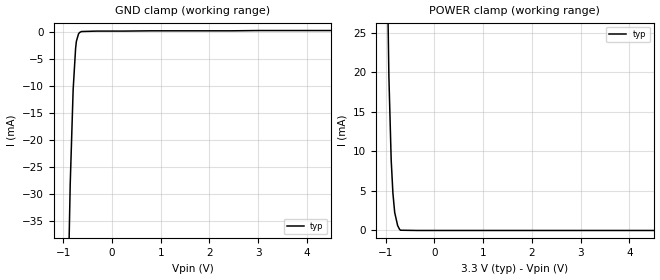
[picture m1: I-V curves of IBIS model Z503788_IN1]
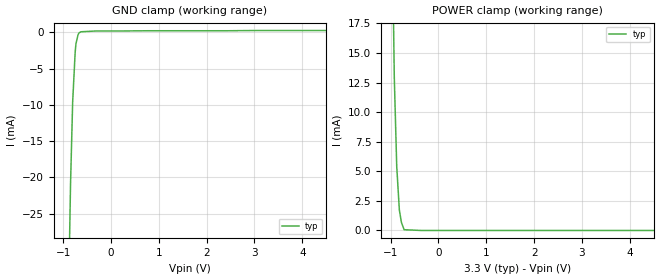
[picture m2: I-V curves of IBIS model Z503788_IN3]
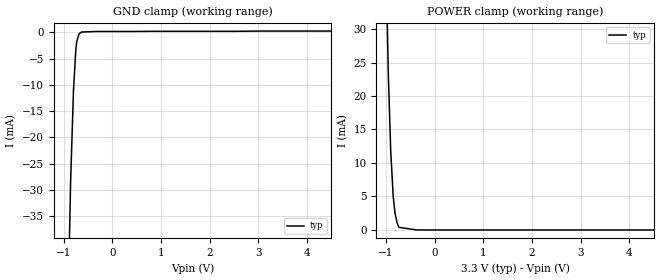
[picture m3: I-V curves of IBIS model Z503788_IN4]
| YOU ARE ONLY AUTHORIZED TO USE THIS SOFTWARE
| ACCORDING TO LICENSOR'S LICENSE RESTRICTIONS.
[IBIS Ver] 3.1
[File Name] mc74ac374n_33.ibs
[File Rev] 2.0
[Source] Measured and created by ICX Technology
[Date] Friday 7/14/00 9:08:00 AM
[Copyright]
| (C) COPYRIGHT 1993-2000
| MENTOR GRAPHICS CORPORATION
| ICX STANDARD LIBRARY, ICX PROJECT MODELING,
| ICX CUSTOM MODELING, ICX VENDOR MODEL
| ALL RIGHTS RESERVED.
| THE FOLLOWING ARE TRADEMARKS OR SERVICE MARKS OF
| MENTOR GRAPHICS CORPORATION:ICX (R), ICX STANDARD
| LIBRARY(R), ICX PROJECT MODELING(R), ICX CUSTOM
| MODELING(R), qualityIBIS(TM), MODELVIEWER(TM),
| AND MODELEDITOR(TM)
| ALL COPIES OF SOFTWARE, INCLUDING BUT NOT LIMITED TO
| ANY MODIFICATIONS, ENHANCEMENTS OR DERIVATIVE WORKS,
| MUST CONTAIN ALL MENTOR GRAPHICS CORPORATION'S
| NOTICES AND LEGENDS, INCLUDING THOSE EMBEDDED IN
| SOFTWARE AND THOSE AFFIXED TO SOFTWARE MEDIUM
| AND CONTAINER, AS RECEIVED FROM MENTOR GRAPHICS
| CORPORATION.
|  ZAP Model Builder 2.7
[Component] MC74AC374N_33
[Manufacturer] OnSemiconductor
[Package]
| variable   typ   min   max
R_pkg  .216ohms NA NA
L_pkg  5.76nH NA NA
C_pkg  1.29pF NA NA
[Pin] signal_name  model_name  R_pin  L_pin C_pin
1 _G Z503788_IN1 .232 9.76n 1.87p
2 Q0 Z503788_TRI2 .224 7.26n 1.58p
3 D0 Z503788_IN3 .216 5.26n 1.29p
4 D1 Z503788_IN3 .208 3.76n 1.0p
5 Q1 Z503788_TRI2 .2 2.76n .71p
6 Q2 Z503788_TRI2 .2 2.76n .71p
7 D2 Z503788_IN3 .208 3.76n 1.0p
8 D3 Z503788_IN3 .216 5.26n 1.29p
9 Q3 Z503788_TRI2 .224 7.26n 1.58p
10 GND GND .232 9.76n 1.87p
11 CLK Z503788_IN4 .232 9.76n 1.87p
12 Q4 Z503788_TRI2 .224 7.26n 1.58p
13 D4 Z503788_IN3 .216 5.26n 1.29p
14 D5 Z503788_IN3 .208 3.76n 1.0p
15 Q5 Z503788_TRI2 .2 2.76n .71p
16 Q6 Z503788_TRI2 .2 2.76n .71p
17 D6 Z503788_IN3 .208 3.76n 1.0p
18 D7 Z503788_IN3 .216 5.26n 1.29p
19 Q7 Z503788_TRI2 .224 7.26n 1.58p
20 VCC POWER .232 9.76n 1.87p
| Models and submodels in the file (4): Z503788_IN1 (Input), Z503788_IN3 (Input), Z503788_IN4 (Input), Z503788_TRI2 (3-state)
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| (C) COPYRIGHT 1993-2000
| MENTOR GRAPHICS CORPORATION
| ICX STANDARD LIBRARY, ICX PROJECT MODELING,
| ICX CUSTOM MODELING, ICX VENDOR MODEL
| ALL RIGHTS RESERVED.
| THE FOLLOWING ARE TRADEMARKS OR SERVICE MARKS OF
| MENTOR GRAPHICS CORPORATION:ICX (R), ICX STANDARD
| LIBRARY(R), ICX PROJECT MODELING(R), ICX CUSTOM
| MODELING(R), qualityIBIS(TM), MODELVIEWER(TM),
| AND MODELEDITOR(TM)
| ALL COPIES OF SOFTWARE, INCLUDING BUT NOT LIMITED TO
| ANY MODIFICATIONS, ENHANCEMENTS OR DERIVATIVE WORKS,
| MUST CONTAIN ALL MENTOR GRAPHICS CORPORATION'S
| NOTICES AND LEGENDS, INCLUDING THOSE EMBEDDED IN
| SOFTWARE AND THOSE AFFIXED TO SOFTWARE MEDIUM
| AND CONTAINER, AS RECEIVED FROM MENTOR GRAPHICS
| CORPORATION.
| Model Application Version 1.89 2/18/99.
[Model] Z503788_IN1
Model_type Input
Vinl = 990.0mV
Vinh = 2.310V
C_comp 4.000pF NA NA
| variable typ   min   max
[Voltage Range] 3.300V NA NA
[GND Clamp Reference] 0.000V NA NA
[POWER Clamp Reference] 3.300V NA NA
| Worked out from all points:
|   GND clamp passes 1 mA (typ) near -0.71 V on its own axis
|   POWER clamp passes 1 mA (typ) near -0.77 V on its own axis
[GND Clamp]
-3.3V     -1.943A    NA         NA
-1.005V   -94.99mA   NA         NA
-857.7mV  -28.3mA    NA         NA
-797.5mV  -10.74mA   NA         NA
-747.4mV  -3.118mA   NA         NA
-731.1mV  -1.753mA   NA         NA
-687.3mV  -388.4uA   NA         NA
-628.2mV  62.63uA    NA         NA
6.6V      246.8uA    NA         NA
[POWER Clamp]
-3.3V     2.107A     NA         NA
-1.109V   118.7mA    NA         NA
-1.007V   48.81mA    NA         NA
-936mV    19.44mA    NA         NA
-889mV    8.936mA    NA         NA
-854mV    4.758mA    NA         NA
-817mV    2.273mA    NA         NA
-756mV    610.1uA    NA         NA
-718mV    158.4uA    NA         NA
-698mV    32.2uA     NA         NA
-349mV    0A         NA         NA
6.6V      0A         NA         NA
| (C) COPYRIGHT 1993-2000
| MENTOR GRAPHICS CORPORATION
| ICX STANDARD LIBRARY, ICX PROJECT MODELING,
| ICX CUSTOM MODELING, ICX VENDOR MODEL
| ALL RIGHTS RESERVED.
| THE FOLLOWING ARE TRADEMARKS OR SERVICE MARKS OF
| MENTOR GRAPHICS CORPORATION:ICX (R), ICX STANDARD
| LIBRARY(R), ICX PROJECT MODELING(R), ICX CUSTOM
| MODELING(R), qualityIBIS(TM), MODELVIEWER(TM),
| AND MODELEDITOR(TM)
| ALL COPIES OF SOFTWARE, INCLUDING BUT NOT LIMITED TO
| ANY MODIFICATIONS, ENHANCEMENTS OR DERIVATIVE WORKS,
| MUST CONTAIN ALL MENTOR GRAPHICS CORPORATION'S
| NOTICES AND LEGENDS, INCLUDING THOSE EMBEDDED IN
| SOFTWARE AND THOSE AFFIXED TO SOFTWARE MEDIUM
| AND CONTAINER, AS RECEIVED FROM MENTOR GRAPHICS
| CORPORATION.
| Model Application Version 1.89 2/18/99.
[Model] Z503788_IN3
Model_type Input
Vinl = 990.0mV
Vinh = 2.310V
C_comp 4.000pF NA NA
| variable typ   min   max
[Voltage Range] 3.300V NA NA
[GND Clamp Reference] 0.000V NA NA
[POWER Clamp Reference] 3.300V NA NA
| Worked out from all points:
|   GND clamp passes 1 mA (typ) near -0.71 V on its own axis
|   POWER clamp passes 1 mA (typ) near -0.79 V on its own axis
[GND Clamp]
-3.3V     -1.594A    NA         NA
-1.001V   -79.87mA   NA         NA
-844.8mV  -21.01mA   NA         NA
-800.1mV  -9.624mA   NA         NA
-747.9mV  -2.791mA   NA         NA
-731mV    -1.579mA   NA         NA
-687.2mV  -340.6uA   NA         NA
-668mV    -105.8uA   NA         NA
-628.2mV  56.9uA     NA         NA
768.5mV   199.3uA    NA         NA
6.6V      231.8uA    NA         NA
[POWER Clamp]
-3.3V     1.484A     NA         NA
-1.143V   106.9mA    NA         NA
-1.001V   36.06mA    NA         NA
-923mV    13mA       NA         NA
-872mV    5.429mA    NA         NA
-817mV    1.736mA    NA         NA
-774mV    683.8uA    NA         NA
-717mV    62.8uA     NA         NA
-358.5mV  0A         NA         NA
6.6V      0A         NA         NA
| (C) COPYRIGHT 1993-2000
| MENTOR GRAPHICS CORPORATION
| ICX STANDARD LIBRARY, ICX PROJECT MODELING,
| ICX CUSTOM MODELING, ICX VENDOR MODEL
| ALL RIGHTS RESERVED.
| THE FOLLOWING ARE TRADEMARKS OR SERVICE MARKS OF
| MENTOR GRAPHICS CORPORATION:ICX (R), ICX STANDARD
| LIBRARY(R), ICX PROJECT MODELING(R), ICX CUSTOM
| MODELING(R), qualityIBIS(TM), MODELVIEWER(TM),
| AND MODELEDITOR(TM)
| ALL COPIES OF SOFTWARE, INCLUDING BUT NOT LIMITED TO
| ANY MODIFICATIONS, ENHANCEMENTS OR DERIVATIVE WORKS,
| MUST CONTAIN ALL MENTOR GRAPHICS CORPORATION'S
| NOTICES AND LEGENDS, INCLUDING THOSE EMBEDDED IN
| SOFTWARE AND THOSE AFFIXED TO SOFTWARE MEDIUM
| AND CONTAINER, AS RECEIVED FROM MENTOR GRAPHICS
| CORPORATION.
| Model Application Version 1.89 2/18/99.
[Model] Z503788_IN4
Model_type Input
Vinl = 990.0mV
Vinh = 2.310V
C_comp 4.000pF NA NA
| variable typ   min   max
[Voltage Range] 3.300V NA NA
[GND Clamp Reference] 0.000V NA NA
[POWER Clamp Reference] 3.300V NA NA
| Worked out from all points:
|   GND clamp passes 1 mA (typ) near -0.70 V on its own axis
|   POWER clamp passes 1 mA (typ) near -0.77 V on its own axis
[GND Clamp]
-3.3V     -2.13A     NA         NA
-1.003V   -96.21mA   NA         NA
-856.4mV  -28.92mA   NA         NA
-796.7mV  -11.11mA   NA         NA
-747.5mV  -3.253mA   NA         NA
-730.8mV  -1.841mA   NA         NA
-687mV    -424.5uA   NA         NA
-627.7mV  59.77uA    NA         NA
6.6V      244.1uA    NA         NA
[POWER Clamp]
-3.3V     1.343A     NA         NA
-1.13V    99.56mA    NA         NA
-1.012V   43.68mA    NA         NA
-952mV    22.84mA    NA         NA
-904mV    11.75mA    NA         NA
-853mV    4.965mA    NA         NA
-816mV    2.511mA    NA         NA
-773mV    1.073mA    NA         NA
-736mV    391.6uA    NA         NA
-368mV    0A         NA         NA
6.6V      0A         NA         NA
